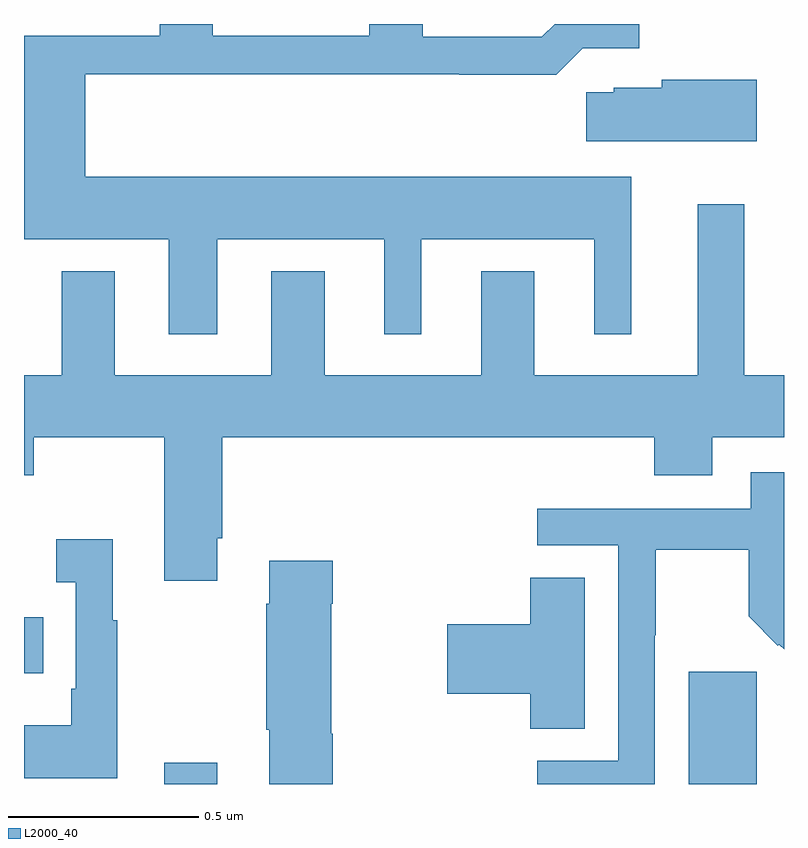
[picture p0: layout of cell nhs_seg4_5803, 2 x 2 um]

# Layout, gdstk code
import gdstk
lib = gdstk.Library(unit=1e-6, precision=1e-09)
def R(c, l, rs):  # rectangles x0, y0, x1, y1
    for r in rs: c.add(gdstk.rectangle(r[:2], r[2:], *l))
def P(c, l, *ps):  # polygons
    for p in ps: c.add(gdstk.Polygon(p, *l))
L2000_40 = (2000, 40)

nhs_seg4_5803 = lib.new_cell('nhs_seg4_5803')
R(nhs_seg4_5803, L2000_40, [(182.369,803.9,182.509,803.956), (183.749,803.9,183.928,804.195), (182,804.191,182.051,804.339)])
P(nhs_seg4_5803, L2000_40, [(182.509,805.334),(182.948,805.334),(182.948,805.083),(183.046,805.083),(183.046,805.334),(183.5,805.334),(183.5,805.083),(183.598,805.083),(183.598,805.498),(182.161,805.498),(182.161,805.768),(183.145,805.768),(183.145,805.766),(183.401,805.766),(183.471,805.836),(183.619,805.836),(183.619,805.9),(183.397,805.9),(183.363,805.866),(183.049,805.866),(183.049,805.9),(182.909,805.9),(182.909,805.869),(182.497,805.869),(182.497,805.9),(182.357,805.9),(182.357,805.869),(182,805.869),(182,805.334),(182.381,805.334),(182.381,805.083),(182.509,805.083)],
  [(183.928,805.753),(183.678,805.753),(183.678,805.732),(183.552,805.732),(183.552,805.721),(183.48,805.721),(183.48,805.592),(183.928,805.592)],
  [(183.659,804.713),(183.811,804.713),(183.811,804.812),(184,804.812),(184,804.976),(183.895,804.976),(183.895,805.426),(183.773,805.426),(183.773,804.976),(183.343,804.976),(183.343,805.249),(183.203,805.249),(183.203,804.976),(182.791,804.976),(182.791,805.249),(182.651,805.249),(182.651,804.976),(182.239,804.976),(182.239,805.249),(182.099,805.249),(182.099,804.976),(182,804.976),(182,804.713),(182.025,804.713),(182.025,804.812),(182.369,804.812),(182.369,804.435),(182.509,804.435),(182.509,804.547),(182.522,804.547),(182.522,804.812),(183.659,804.812)],
  [(183.66,804.292),(183.663,804.292),(183.663,804.516),(183.907,804.516),(183.907,804.341),(183.984,804.264),(183.987,804.267),(184,804.254),(184,804.721),(183.912,804.721),(183.912,804.624),(183.351,804.624),(183.351,804.528),(183.564,804.528),(183.564,803.961),(183.351,803.961),(183.351,803.9),(183.66,803.9)],
  [(182.245,804.331),(182.233,804.331),(182.233,804.544),(182.085,804.544),(182.085,804.431),(182.136,804.431),(182.136,804.151),(182.124,804.151),(182.124,804.055),(182,804.055),(182,803.915),(182.245,803.915)],
  [(182.813,804.032),(182.808,804.032),(182.808,804.374),(182.813,804.374),(182.813,804.487),(182.645,804.487),(182.645,804.374),(182.638,804.374),(182.638,804.043),(182.645,804.043),(182.645,803.9),(182.813,803.9)],
  [(183.475,804.443),(183.332,804.443),(183.332,804.32),(183.114,804.32),(183.114,804.137),(183.332,804.137),(183.332,804.046),(183.475,804.046)])

lib.write_gds('nhs_seg4_5803.gds')
